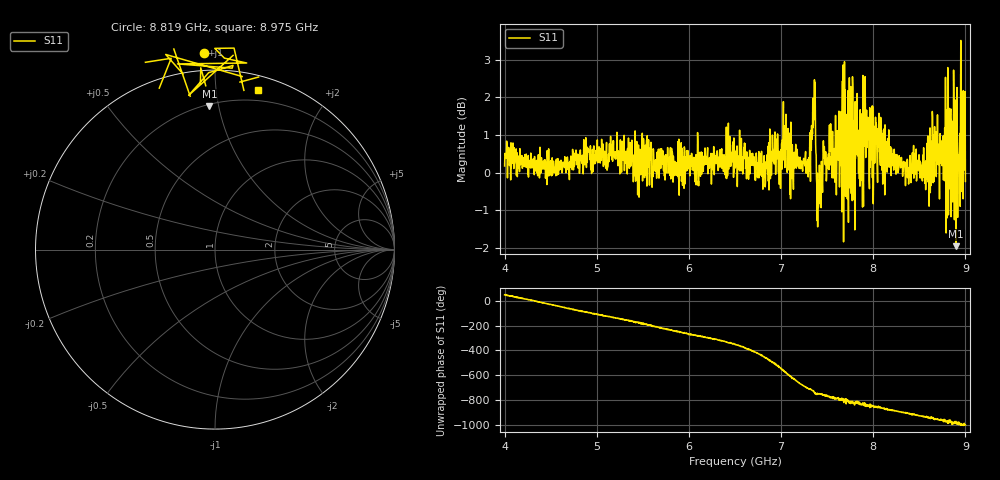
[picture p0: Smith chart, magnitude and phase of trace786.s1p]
! Created with skrf 1.8.0 (http://scikit-rf.org).
# Hz S RI R 50.0
!freq ReS11 ImS11
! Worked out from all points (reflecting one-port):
!   1601 points, 4 GHz to 9 GHz, reference 50 ohm
!   lowest |S11| = -2.0 dB at 8.9 GHz (marker M1), VSWR 8.91, Z = 10.7 + j46.9 ohm
!   phase of S11 starts at 50 deg and turns -1052 deg over the sweep
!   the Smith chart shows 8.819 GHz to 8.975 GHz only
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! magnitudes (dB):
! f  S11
! 4 GHz  0.2
! 4.625 GHz  0.0
! 5.25 GHz  0.0
! 5.875 GHz  0.2
! 6.5 GHz  0.4
! 6.806 GHz  0.2
! 6.994 GHz  -0.4
! 7.038 GHz  0.4
! 7.125 GHz  0.4
! 7.294 GHz  -0.1
! 7.347 GHz  1.2
! 7.409 GHz  -0.7
! 7.462 GHz  0.6
! 7.6 GHz  -0.6
! 7.65 GHz  1.5
! 7.75 GHz  0.8
! 7.8 GHz  -1.5
! 7.872 GHz  1.5
! 7.928 GHz  1.7
! 8.375 GHz  0.0
! 8.544 GHz  -0.1
! 8.656 GHz  0.5
! 8.778 GHz  1.1
! 8.834 GHz  1.6
! 8.9 GHz  -2.0
! 8.919 GHz  -0.1
! 8.972 GHz  1.3
! 9 GHz  -0.2
